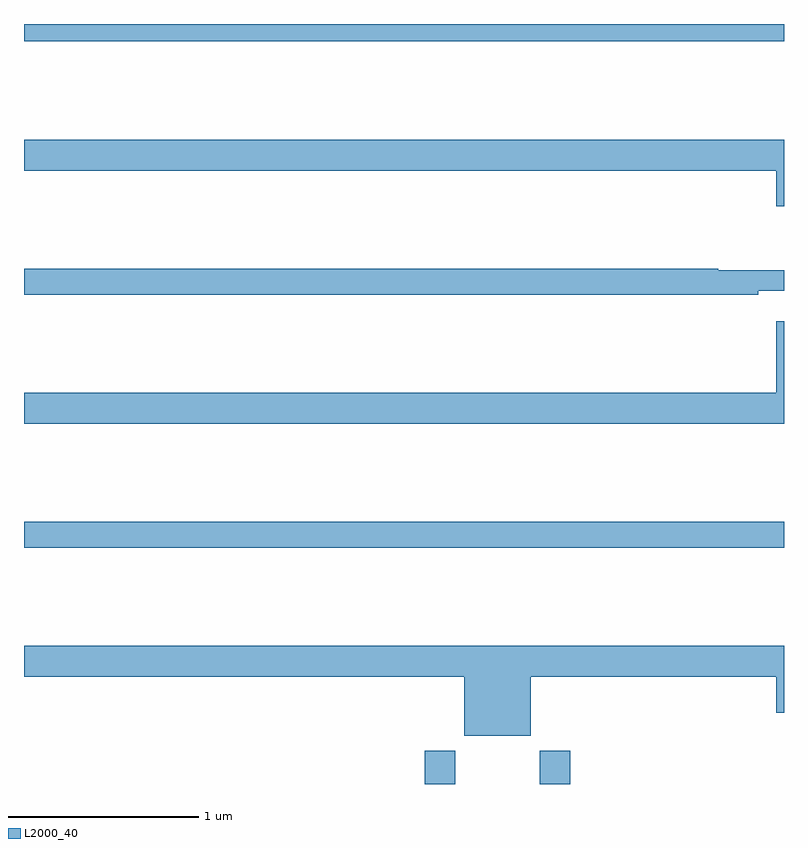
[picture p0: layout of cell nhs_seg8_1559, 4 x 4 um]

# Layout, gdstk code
import gdstk
lib = gdstk.Library(unit=1e-6, precision=1e-09)
def R(c, l, rs):  # rectangles x0, y0, x1, y1
    for r in rs: c.add(gdstk.rectangle(r[:2], r[2:], *l))
def P(c, l, *ps):  # polygons
    for p in ps: c.add(gdstk.Polygon(p, *l))
L2000_40 = (2000, 40)

nhs_seg8_1559 = lib.new_cell('nhs_seg8_1559')
R(nhs_seg8_1559, L2000_40, [(211.109,1151.9,211.269,1152.076), (211.714,1151.9,211.874,1152.076), (209,1153.144,213,1153.28), (209,1155.808,213,1155.9)])
P(nhs_seg8_1559, L2000_40, [(213,1155.292),(209,1155.292),(209,1155.128),(212.96,1155.128),(212.96,1154.94),(213,1154.94)],
  [(212.864,1154.495),(213,1154.495),(213,1154.605),(212.655,1154.605),(212.655,1154.612),(209,1154.612),(209,1154.476),(212.864,1154.476)],
  [(213,1154.335),(212.96,1154.335),(212.96,1153.96),(209,1153.96),(209,1153.796),(213,1153.796)],
  [(211.666,1152.464),(212.96,1152.464),(212.96,1152.276),(213,1152.276),(213,1152.628),(209,1152.628),(209,1152.464),(211.316,1152.464),(211.316,1152.155),(211.666,1152.155)])

lib.write_gds('nhs_seg8_1559.gds')
